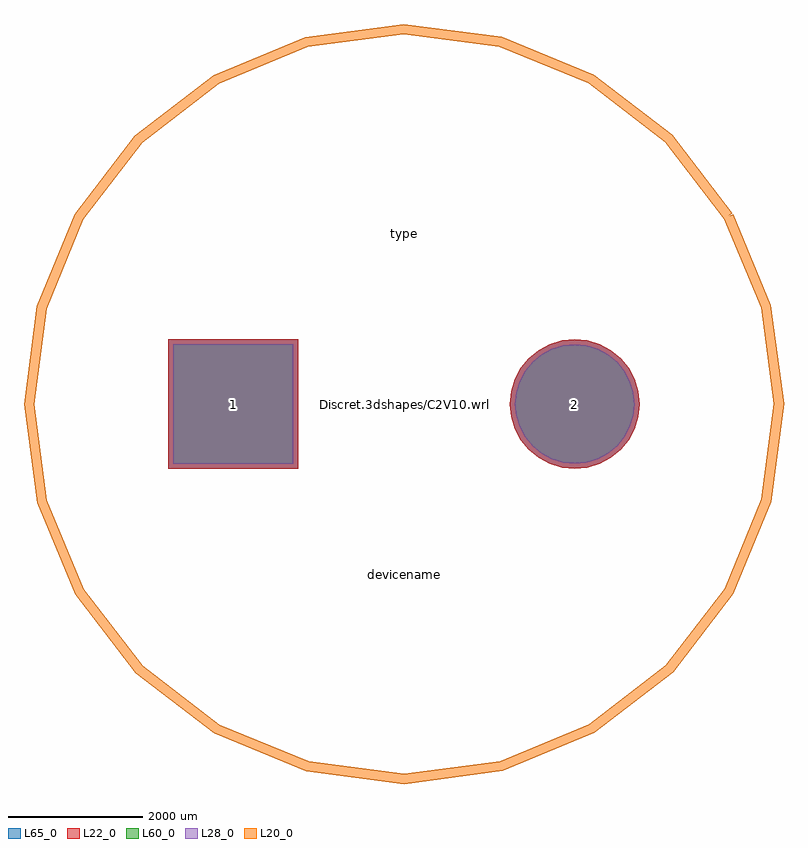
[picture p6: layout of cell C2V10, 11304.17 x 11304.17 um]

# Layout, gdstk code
import gdstk
lib = gdstk.Library(unit=1e-6, precision=1e-09)
def R(c, l, rs):  # rectangles x0, y0, x1, y1
    for r in rs: c.add(gdstk.rectangle(r[:2], r[2:], *l))
def P(c, l, *ps):  # polygons
    for p in ps: c.add(gdstk.Polygon(p, *l))
L20_0 = (20, 0)
L22_0 = (22, 0)
L28_0 = (28, 0)
L60_0 = (60, 0)
L65_0 = (65, 0)

c2v10 = lib.new_cell('C2V10')
R(c2v10, L22_0, [(-3504,-964,-1576,964)])
P(c2v10, L22_0, [(3504,0),(3485.477,188.067),(3430.62,368.907),(3341.537,535.57),(3221.651,681.651),(3075.57,801.537),(2908.907,890.62),(2728.067,945.477),(2540,964),(2351.933,945.477),(2171.093,890.62),(2004.43,801.537),(1858.349,681.651),(1738.463,535.57),(1649.38,368.907),(1594.523,188.067),(1576,0),(1594.523,-188.067),(1649.38,-368.907),(1738.463,-535.57),(1858.349,-681.651),(2004.43,-801.537),(2171.093,-890.62),(2351.933,-945.477),(2540,-964),(2728.067,-945.477),(2908.907,-890.62),(3075.57,-801.537),(3221.651,-681.651),(3341.537,-535.57),(3430.62,-368.907),(3485.477,-188.067)])
R(c2v10, L28_0, [(-3429,-889,-1651,889)])
P(c2v10, L28_0, [(3429,0),(3411.918,173.435),(3361.329,340.206),(3279.176,493.902),(3168.618,628.618),(3033.902,739.176),(2880.206,821.329),(2713.435,871.918),(2540,889),(2366.565,871.918),(2199.794,821.329),(2046.098,739.176),(1911.382,628.618),(1800.824,493.902),(1718.671,340.206),(1668.082,173.435),(1651,0),(1668.082,-173.435),(1718.671,-340.206),(1800.824,-493.902),(1911.382,-628.618),(2046.098,-739.176),(2199.794,-821.329),(2366.565,-871.918),(2540,-889),(2713.435,-871.918),(2880.206,-821.329),(3033.902,-739.176),(3168.618,-628.618),(3279.176,-493.902),(3361.329,-340.206),(3411.918,-173.435)])
R(c2v10, L60_0, [(-3429,-889,-1651,889)])
P(c2v10, L60_0, [(3429,0),(3411.918,173.435),(3361.329,340.206),(3279.176,493.902),(3168.618,628.618),(3033.902,739.176),(2880.206,821.329),(2713.435,871.918),(2540,889),(2366.565,871.918),(2199.794,821.329),(2046.098,739.176),(1911.382,628.618),(1800.824,493.902),(1718.671,340.206),(1668.082,173.435),(1651,0),(1668.082,-173.435),(1718.671,-340.206),(1800.824,-493.902),(1911.382,-628.618),(2046.098,-739.176),(2199.794,-821.329),(2366.565,-871.918),(2540,-889),(2713.435,-871.918),(2880.206,-821.329),(3033.902,-739.176),(3168.618,-628.618),(3279.176,-493.902),(3361.329,-340.206),(3411.918,-173.435)])
R(c2v10, L65_0, [(-3504,-964,-1576,964)])
P(c2v10, L65_0, [(3504,0),(3485.477,188.067),(3430.62,368.907),(3341.537,535.57),(3221.651,681.651),(3075.57,801.537),(2908.907,890.62),(2728.067,945.477),(2540,964),(2351.933,945.477),(2171.093,890.62),(2004.43,801.537),(1858.349,681.651),(1738.463,535.57),(1649.38,368.907),(1594.523,188.067),(1576,0),(1594.523,-188.067),(1649.38,-368.907),(1738.463,-535.57),(1858.349,-681.651),(2004.43,-801.537),(2171.093,-890.62),(2351.933,-945.477),(2540,-964),(2728.067,-945.477),(2908.907,-890.62),(3075.57,-801.537),(3221.651,-681.651),(3341.537,-535.57),(3430.62,-368.907),(3485.477,-188.067)])
c2v10.add(gdstk.FlexPath([(4826,2794),(3938.418,3947.857),(2782.439,4832.675),(1436.841,5388.154),(-6.675,5576.439),(-1449.736,5384.698),(-2794,4826),(-3947.857,3938.418),(-4832.675,2782.439),(-5388.154,1436.841),(-5576.439,-6.675),(-5384.698,-1449.736),(-4826,-2794),(-3938.418,-3947.857),(-2782.439,-4832.675),(-1436.841,-5388.154),(6.675,-5576.439),(1449.736,-5384.698),(2794,-4826),(3947.857,-3938.418),(4832.675,-2782.439),(5388.154,-1436.841),(5576.439,6.675),(5384.698,1449.736),(4826,2794)], 149.998, ends="flush", simple_path=True, layer=20, datatype=0))  # L20_0
c2v10.add(gdstk.Label('Discret.3dshapes/C2V10.wrl', (0,0), layer=12, texttype=0))
c2v10.add(gdstk.Label('2', (2540,0), layer=28, texttype=0))
c2v10.add(gdstk.Label('1', (-2540,0), layer=28, texttype=0))
c2v10.add(gdstk.Label('type', (0,2540), layer=9, texttype=0))
c2v10.add(gdstk.Label('devicename', (0,-2540), layer=9, texttype=0))

lib.write_gds('C2V10.gds')
